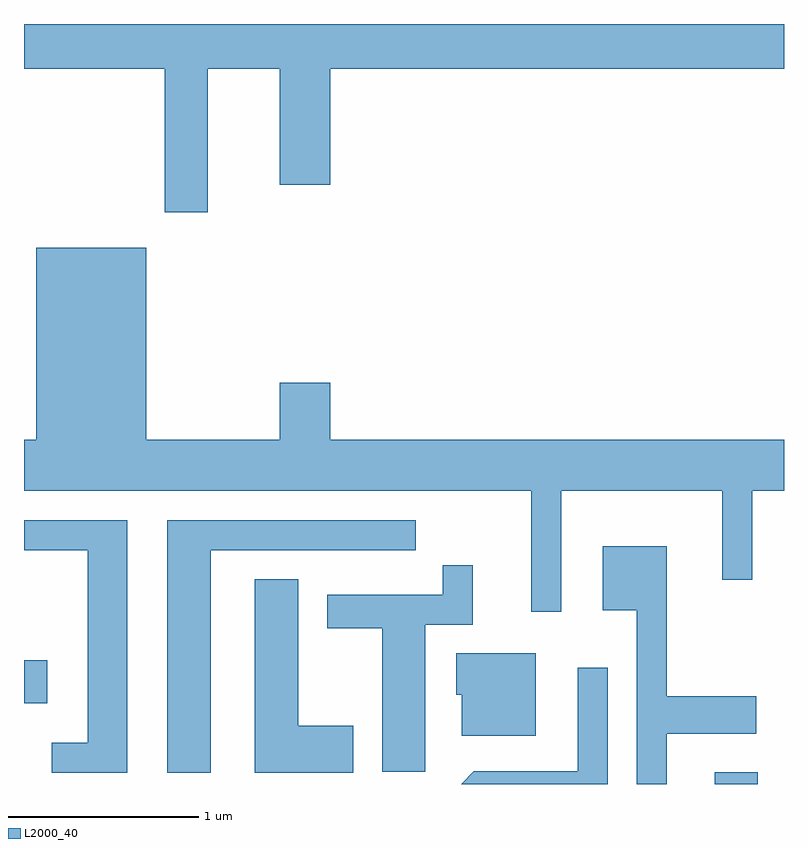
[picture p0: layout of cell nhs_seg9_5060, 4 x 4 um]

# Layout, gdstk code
import gdstk
lib = gdstk.Library(unit=1e-6, precision=1e-09)
def R(c, l, rs):  # rectangles x0, y0, x1, y1
    for r in rs: c.add(gdstk.rectangle(r[:2], r[2:], *l))
def P(c, l, *ps):  # polygons
    for p in ps: c.add(gdstk.Polygon(p, *l))
L2000_40 = (2000, 40)

nhs_seg9_5060 = lib.new_cell('nhs_seg9_5060')
R(nhs_seg9_5060, L2000_40, [(337.246,2052.432,337.474,2052.494), (333.611,2052.856,333.734,2053.084)])
P(nhs_seg9_5060, L2000_40, [(334.579,2056.196),(334.956,2056.196),(334.956,2055.586),(335.224,2055.586),(335.224,2056.196),(337.611,2056.196),(337.611,2056.432),(333.611,2056.432),(333.611,2056.196),(334.351,2056.196),(334.351,2055.441),(334.579,2055.441)],
  [(336.439,2053.976),(337.286,2053.976),(337.286,2053.508),(337.444,2053.508),(337.444,2053.976),(337.611,2053.976),(337.611,2054.244),(335.224,2054.244),(335.224,2054.544),(334.956,2054.544),(334.956,2054.244),(334.254,2054.244),(334.254,2055.254),(333.676,2055.254),(333.676,2054.244),(333.611,2054.244),(333.611,2053.976),(336.281,2053.976),(336.281,2053.338),(336.439,2053.338)],
  [(334.154,2053.819),(333.611,2053.819),(333.611,2053.661),(333.946,2053.661),(333.946,2052.649),(333.758,2052.649),(333.758,2052.491),(334.154,2052.491)],
  [(334.594,2053.661),(335.673,2053.661),(335.673,2053.819),(334.366,2053.819),(334.366,2052.491),(334.594,2052.491)],
  [(336.994,2052.696),(337.464,2052.696),(337.464,2052.894),(336.994,2052.894),(336.994,2053.684),(336.656,2053.684),(336.656,2053.346),(336.836,2053.346),(336.836,2052.432),(336.994,2052.432)],
  [(335.724,2053.271),(335.974,2053.271),(335.974,2053.583),(335.816,2053.583),(335.816,2053.429),(335.206,2053.429),(335.206,2053.251),(335.496,2053.251),(335.496,2052.496),(335.724,2052.496)],
  [(335.344,2052.739),(335.054,2052.739),(335.054,2053.509),(334.826,2053.509),(334.826,2052.491),(335.344,2052.491)],
  [(336.304,2053.119),(335.886,2053.119),(335.886,2052.901),(335.916,2052.901),(335.916,2052.686),(336.304,2052.686)],
  [(336.684,2053.043),(336.526,2053.043),(336.526,2052.499),(335.979,2052.499),(335.912,2052.432),(336.684,2052.432)])

lib.write_gds('nhs_seg9_5060.gds')
